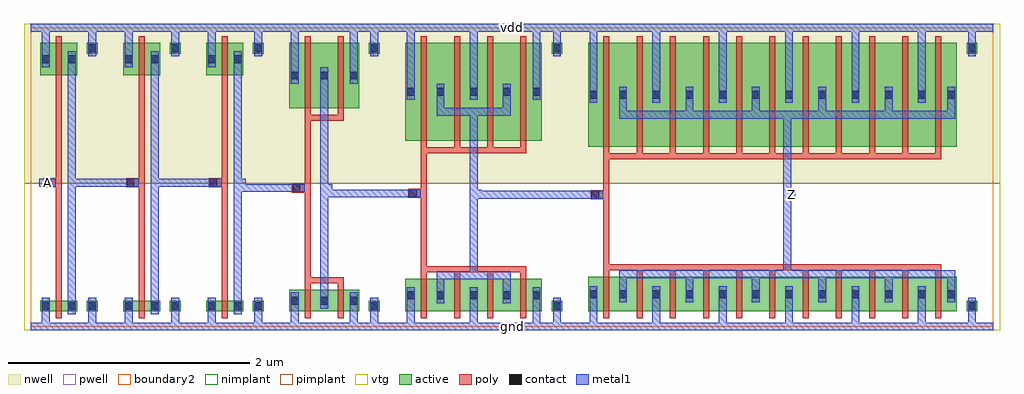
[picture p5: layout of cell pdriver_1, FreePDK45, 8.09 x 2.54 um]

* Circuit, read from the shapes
.subckt pdriver_1 A Z gnd vdd
M1 pinv_1_1/A A gnd gnd nfet w=0.09u l=0.05u
M2 pinv_1_2/A pinv_1_1/A gnd gnd nfet w=0.09u l=0.05u
M3 pinv_8_3/A pinv_1_2/A gnd gnd nfet w=0.09u l=0.05u
M4 pinv_5_4/A pinv_8_3/A gnd gnd nfet w=0.18u l=0.05u m=2
M5 pinv_9_5/A pinv_5_4/A gnd gnd nfet w=0.27u l=0.05u m=4
M6 Z pinv_9_5/A gnd gnd nfet w=0.2875u l=0.05u m=11
M7 pinv_1_1/A A vdd vdd pfet w=0.27u l=0.05u
M8 pinv_1_2/A pinv_1_1/A vdd vdd pfet w=0.27u l=0.05u
M9 pinv_8_3/A pinv_1_2/A vdd vdd pfet w=0.27u l=0.05u
M10 pinv_5_4/A pinv_8_3/A vdd vdd pfet w=0.54u l=0.05u m=2
M11 pinv_9_5/A pinv_5_4/A vdd vdd pfet w=0.81u l=0.05u m=4
M12 Z pinv_9_5/A vdd vdd pfet w=0.86u l=0.05u m=11
.ends

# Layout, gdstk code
import gdstk
lib = gdstk.Library(unit=1e-6, precision=5e-10)
def R(c, l, rs):  # rectangles x0, y0, x1, y1
    for r in rs: c.add(gdstk.rectangle(r[:2], r[2:], *l))
def A(c, l, x, y, w, h, nx, ny, dx, dy):  # array of equal rectangles
    R(c, l, [(x+i*dx, y+j*dy, x+i*dx+w, y+j*dy+h) for i in range(nx) for j in range(ny)])
active = (1, 0)
pwell = (2, 0)
nwell = (3, 0)
nimplant = (4, 0)
pimplant = (5, 0)
vtg = (6, 0)
poly = (9, 0)
contact = (10, 0)
metal1 = (11, 0)
boundary2 = (239, 0)

contact_10 = lib.new_cell('contact_10')
R(contact_10, active, [(0,0.0225,0.09,0.1125)])
R(contact_10, nwell, [(-0.055,-0.0325,0.145,0.1675)])
R(contact_10, pimplant, [(0,0.0225,0.09,0.1125)])
R(contact_10, contact, [(0.0125,0.035,0.0775,0.1)])
R(contact_10, metal1, [(0.0125,0,0.0775,0.135)])
R(contact_10, boundary2, [(-0.055,-0.0325,0.145,0.1675)])

pmos_m1_w0_270_sm1_dm1_d = lib.new_cell('pmos_m1_w0_270_sm1_dm1_da_p')
R(pmos_m1_w0_270_sm1_dm1_d, active, [(0,0,0.305,0.27)])
R(pmos_m1_w0_270_sm1_dm1_d, nwell, [(-0.08,-0.08,0.385,0.35)])
R(pmos_m1_w0_270_sm1_dm1_d, pimplant, [(0,0,0.305,0.27)])
R(pmos_m1_w0_270_sm1_dm1_d, vtg, [(-0.08,-0.08,0.385,0.35)])
R(pmos_m1_w0_270_sm1_dm1_d, poly, [(0.1275,-0.055,0.1775,0.325), (0.1275,-0.055,0.1775,0.325)])
R(pmos_m1_w0_270_sm1_dm1_d, metal1, [(0.0125,0.0675,0.0775,0.2025), (0.2275,0.0675,0.2925,0.2025)])
R(pmos_m1_w0_270_sm1_dm1_d, boundary2, [(-0.08,-0.08,0.385,0.35)])
pmos_m1_w0_270_sm1_dm1_d.add(gdstk.Reference(contact_10, (0,0.0675)))
pmos_m1_w0_270_sm1_dm1_d.add(gdstk.Reference(contact_10, (0.215,0.0675)))
pmos_m1_w0_270_sm1_dm1_d.add(gdstk.Label('S', (0.045,0.135), layer=11, texttype=0))
pmos_m1_w0_270_sm1_dm1_d.add(gdstk.Label('D', (0.26,0.135), layer=11, texttype=0))
pmos_m1_w0_270_sm1_dm1_d.add(gdstk.Label('G', (0.1525,0.135), layer=9, texttype=0))

contact_9 = lib.new_cell('contact_9')
R(contact_9, active, [(0,0.0225,0.09,0.1125)])
R(contact_9, pwell, [(-0.055,-0.0325,0.145,0.1675)])
R(contact_9, nimplant, [(0,0.0225,0.09,0.1125)])
R(contact_9, contact, [(0.0125,0.035,0.0775,0.1)])
R(contact_9, metal1, [(0.0125,0,0.0775,0.135)])
R(contact_9, boundary2, [(-0.055,-0.0325,0.145,0.1675)])

nmos_m1_w0_090_sm1_dm1_d = lib.new_cell('nmos_m1_w0_090_sm1_dm1_da_p')
R(nmos_m1_w0_090_sm1_dm1_d, active, [(0,0,0.305,0.09)])
R(nmos_m1_w0_090_sm1_dm1_d, pwell, [(-0.08,-0.08,0.385,0.17)])
R(nmos_m1_w0_090_sm1_dm1_d, nimplant, [(0,0,0.305,0.09)])
R(nmos_m1_w0_090_sm1_dm1_d, vtg, [(-0.08,-0.08,0.385,0.17)])
R(nmos_m1_w0_090_sm1_dm1_d, poly, [(0.1275,-0.055,0.1775,0.145), (0.1275,-0.055,0.1775,0.145)])
R(nmos_m1_w0_090_sm1_dm1_d, metal1, [(0.0125,-0.0225,0.0775,0.1125), (0.2275,-0.0225,0.2925,0.1125)])
R(nmos_m1_w0_090_sm1_dm1_d, boundary2, [(-0.08,-0.08,0.385,0.17)])
nmos_m1_w0_090_sm1_dm1_d.add(gdstk.Reference(contact_9, (0,-0.0225)))
nmos_m1_w0_090_sm1_dm1_d.add(gdstk.Reference(contact_9, (0.215,-0.0225)))
nmos_m1_w0_090_sm1_dm1_d.add(gdstk.Label('S', (0.045,0.045), layer=11, texttype=0))
nmos_m1_w0_090_sm1_dm1_d.add(gdstk.Label('D', (0.26,0.045), layer=11, texttype=0))
nmos_m1_w0_090_sm1_dm1_d.add(gdstk.Label('G', (0.1525,0.045), layer=9, texttype=0))

contact_11 = lib.new_cell('contact_11')
R(contact_11, active, [(0,0.0225,0.09,0.1125)])
R(contact_11, nwell, [(-0.055,-0.0325,0.145,0.1675)])
R(contact_11, nimplant, [(0,0.0225,0.09,0.1125)])
R(contact_11, contact, [(0.0125,0.035,0.0775,0.1)])
R(contact_11, metal1, [(0.0125,0,0.0775,0.135)])
R(contact_11, boundary2, [(-0.055,-0.0325,0.145,0.1675)])

contact_12 = lib.new_cell('contact_12')
R(contact_12, active, [(0,0.0225,0.09,0.1125)])
R(contact_12, pwell, [(-0.055,-0.0325,0.145,0.1675)])
R(contact_12, pimplant, [(0,0.0225,0.09,0.1125)])
R(contact_12, contact, [(0.0125,0.035,0.0775,0.1)])
R(contact_12, metal1, [(0.0125,0,0.0775,0.135)])
R(contact_12, boundary2, [(-0.055,-0.0325,0.145,0.1675)])

contact_13 = lib.new_cell('contact_13')
R(contact_13, poly, [(0.03,0,0.105,0.075)])
R(contact_13, contact, [(0.035,0.005,0.1,0.07)])
R(contact_13, metal1, [(0,0.005,0.135,0.07)])
R(contact_13, boundary2, [(0,0,0.135,0.075)])

pinv_1 = lib.new_cell('pinv_1')
R(pinv_1, pwell, [(-0.055,-0.0325,0.7425,1.1875)])
R(pinv_1, nwell, [(-0.055,1.1875,0.7425,2.51)])
R(pinv_1, vtg, [(-0.055,-0.0325,0.7425,1.1875), (-0.055,1.1875,0.7425,2.51)])
R(pinv_1, poly, [(0.2075,0.27,0.2575,2.025), (0.14,1.155,0.2075,1.23)])
R(pinv_1, metal1, [(0,-0.0325,0.6875,0.0325), (0.0925,-0.0325,0.1575,0.1025), (0.4775,0,0.5425,0.17), (0.3075,0.1025,0.3725,2.2825), (0.0725,1.16,0.2075,1.225), (0.34,1.16,0.405,1.225), (0.0925,2.1475,0.1575,2.5075), (0.4775,2.305,0.5425,2.475), (0,2.4425,0.6875,2.5075)])
R(pinv_1, boundary2, [(0,0,0.6875,2.475), (0,0,0.6875,2.475)])
pinv_1.add(gdstk.Reference(pmos_m1_w0_270_sm1_dm1_d, (0.08,2.08)))
pinv_1.add(gdstk.Reference(nmos_m1_w0_090_sm1_dm1_d, (0.08,0.125)))
pinv_1.add(gdstk.Reference(contact_11, (0.465,2.2375)))
pinv_1.add(gdstk.Reference(contact_12, (0.465,0.1025)))
pinv_1.add(gdstk.Reference(contact_13, (0.0725,1.155)))
pinv_1.add(gdstk.Label('A', (0.14,1.1925), layer=11, texttype=0))
pinv_1.add(gdstk.Label('Z', (0.3725,1.1925), layer=11, texttype=0))
pinv_1.add(gdstk.Label('gnd', (0.344,0), layer=11, texttype=0))
pinv_1.add(gdstk.Label('vdd', (0.344,2.475), layer=11, texttype=0))

pmos_m2_w0_540_sm1_dm1_d = lib.new_cell('pmos_m2_w0_540_sm1_dm1_da_p')
R(pmos_m2_w0_540_sm1_dm1_d, active, [(0,0,0.58,0.54)])
R(pmos_m2_w0_540_sm1_dm1_d, nwell, [(-0.08,-0.08,0.66,0.62)])
R(pmos_m2_w0_540_sm1_dm1_d, pimplant, [(0,0,0.58,0.54)])
R(pmos_m2_w0_540_sm1_dm1_d, vtg, [(-0.08,-0.08,0.66,0.62)])
R(pmos_m2_w0_540_sm1_dm1_d, poly, [(0.1275,-0.105,0.4525,-0.055), (0.1275,-0.055,0.1775,0.595), (0.4025,-0.055,0.4525,0.595)])
A(pmos_m2_w0_540_sm1_dm1_d, metal1, 0.0125, 0.2025, 0.065, 0.135, 3, 1, 0.245, 0)
R(pmos_m2_w0_540_sm1_dm1_d, boundary2, [(-0.08,-0.105,0.66,0.62)])
pmos_m2_w0_540_sm1_dm1_d.add(gdstk.Reference(contact_10, (0,0.2025)))
pmos_m2_w0_540_sm1_dm1_d.add(gdstk.Reference(contact_10, (0.245,0.2025)))
pmos_m2_w0_540_sm1_dm1_d.add(gdstk.Reference(contact_10, (0.49,0.2025)))
pmos_m2_w0_540_sm1_dm1_d.add(gdstk.Label('S', (0.535,0.27), layer=11, texttype=0))
pmos_m2_w0_540_sm1_dm1_d.add(gdstk.Label('S', (0.045,0.27), layer=11, texttype=0))
pmos_m2_w0_540_sm1_dm1_d.add(gdstk.Label('D', (0.29,0.27), layer=11, texttype=0))
pmos_m2_w0_540_sm1_dm1_d.add(gdstk.Label('G', (0.29,-0.08), layer=9, texttype=0))

nmos_m2_w0_180_sm1_dm1_d = lib.new_cell('nmos_m2_w0_180_sm1_dm1_da_p')
R(nmos_m2_w0_180_sm1_dm1_d, active, [(0,0,0.58,0.18)])
R(nmos_m2_w0_180_sm1_dm1_d, pwell, [(-0.08,-0.08,0.66,0.26)])
R(nmos_m2_w0_180_sm1_dm1_d, nimplant, [(0,0,0.58,0.18)])
R(nmos_m2_w0_180_sm1_dm1_d, vtg, [(-0.08,-0.08,0.66,0.26)])
R(nmos_m2_w0_180_sm1_dm1_d, poly, [(0.1275,-0.055,0.1775,0.235), (0.4025,-0.055,0.4525,0.235), (0.1275,0.235,0.4525,0.285)])
A(nmos_m2_w0_180_sm1_dm1_d, metal1, 0.0125, 0.0225, 0.065, 0.135, 3, 1, 0.245, 0)
R(nmos_m2_w0_180_sm1_dm1_d, boundary2, [(-0.08,-0.08,0.66,0.285)])
nmos_m2_w0_180_sm1_dm1_d.add(gdstk.Reference(contact_9, (0,0.0225)))
nmos_m2_w0_180_sm1_dm1_d.add(gdstk.Reference(contact_9, (0.245,0.0225)))
nmos_m2_w0_180_sm1_dm1_d.add(gdstk.Reference(contact_9, (0.49,0.0225)))
nmos_m2_w0_180_sm1_dm1_d.add(gdstk.Label('S', (0.535,0.09), layer=11, texttype=0))
nmos_m2_w0_180_sm1_dm1_d.add(gdstk.Label('S', (0.045,0.09), layer=11, texttype=0))
nmos_m2_w0_180_sm1_dm1_d.add(gdstk.Label('D', (0.29,0.09), layer=11, texttype=0))
nmos_m2_w0_180_sm1_dm1_d.add(gdstk.Label('G', (0.29,0.26), layer=9, texttype=0))

pinv_8 = lib.new_cell('pinv_8')
R(pinv_8, pwell, [(-0.055,-0.0325,1.0175,1.1875)])
R(pinv_8, nwell, [(-0.055,1.1875,1.0175,2.51)])
R(pinv_8, vtg, [(-0.055,-0.0325,1.0175,1.1875), (-0.055,1.1875,1.0175,2.51)])
R(pinv_8, poly, [(0.2075,0.41,0.2575,1.705), (0.14,1.11,0.2075,1.185)])
R(pinv_8, metal1, [(0,-0.0325,0.9625,0.0325), (0.0925,-0.0325,0.1575,0.1475), (0.5825,-0.0325,0.6475,0.1475), (0.7525,0,0.8175,0.17), (0.3375,0.1475,0.4025,2.1475), (0.0725,1.115,0.2075,1.18), (0.37,1.115,0.435,1.18), (0.0925,2.0125,0.1575,2.5075), (0.5825,2.0125,0.6475,2.5075), (0.7525,2.305,0.8175,2.475), (0,2.4425,0.9625,2.5075)])
R(pinv_8, boundary2, [(0,0,0.9625,2.475), (0,0,0.9625,2.475)])
pinv_8.add(gdstk.Reference(pmos_m2_w0_540_sm1_dm1_d, (0.08,1.81)))
pinv_8.add(gdstk.Reference(nmos_m2_w0_180_sm1_dm1_d, (0.08,0.125)))
pinv_8.add(gdstk.Reference(contact_11, (0.74,2.2375)))
pinv_8.add(gdstk.Reference(contact_12, (0.74,0.1025)))
pinv_8.add(gdstk.Reference(contact_13, (0.0725,1.11)))
pinv_8.add(gdstk.Label('A', (0.14,1.1475), layer=11, texttype=0))
pinv_8.add(gdstk.Label('Z', (0.4025,1.1475), layer=11, texttype=0))
pinv_8.add(gdstk.Label('gnd', (0.481,0), layer=11, texttype=0))
pinv_8.add(gdstk.Label('vdd', (0.481,2.475), layer=11, texttype=0))

pmos_m4_w0_810_sm1_dm1_d = lib.new_cell('pmos_m4_w0_810_sm1_dm1_da_p')
R(pmos_m4_w0_810_sm1_dm1_d, active, [(0,0,1.13,0.81)])
R(pmos_m4_w0_810_sm1_dm1_d, nwell, [(-0.08,-0.08,1.21,0.89)])
R(pmos_m4_w0_810_sm1_dm1_d, pimplant, [(0,0,1.13,0.81)])
R(pmos_m4_w0_810_sm1_dm1_d, vtg, [(-0.08,-0.08,1.21,0.89)])
A(pmos_m4_w0_810_sm1_dm1_d, poly, 0.1275, -0.055, 0.05, 0.92, 4, 1, 0.275, 0)
R(pmos_m4_w0_810_sm1_dm1_d, poly, [(0.1275,-0.105,1.0025,-0.055)])
A(pmos_m4_w0_810_sm1_dm1_d, metal1, 0.0125, 0.3375, 0.065, 0.135, 3, 1, 0.52, 0)
R(pmos_m4_w0_810_sm1_dm1_d, metal1, [(0.2575,0.2075,0.8725,0.2725), (0.2575,0.24,0.3225,0.405), (0.8075,0.24,0.8725,0.405)])
R(pmos_m4_w0_810_sm1_dm1_d, boundary2, [(-0.08,-0.105,1.21,0.89)])
pmos_m4_w0_810_sm1_dm1_d.add(gdstk.Reference(contact_10, (0,0.3375)))
pmos_m4_w0_810_sm1_dm1_d.add(gdstk.Reference(contact_10, (0.245,0.3375)))
pmos_m4_w0_810_sm1_dm1_d.add(gdstk.Reference(contact_10, (0.52,0.3375)))
pmos_m4_w0_810_sm1_dm1_d.add(gdstk.Reference(contact_10, (0.795,0.3375)))
pmos_m4_w0_810_sm1_dm1_d.add(gdstk.Reference(contact_10, (1.04,0.3375)))
pmos_m4_w0_810_sm1_dm1_d.add(gdstk.Label('S', (0.565,0.405), layer=11, texttype=0))
pmos_m4_w0_810_sm1_dm1_d.add(gdstk.Label('S', (1.085,0.405), layer=11, texttype=0))
pmos_m4_w0_810_sm1_dm1_d.add(gdstk.Label('S', (0.045,0.405), layer=11, texttype=0))
pmos_m4_w0_810_sm1_dm1_d.add(gdstk.Label('D', (0.565,0.24), layer=11, texttype=0))
pmos_m4_w0_810_sm1_dm1_d.add(gdstk.Label('G', (0.565,-0.08), layer=9, texttype=0))

nmos_m4_w0_270_sm1_dm1_d = lib.new_cell('nmos_m4_w0_270_sm1_dm1_da_p')
R(nmos_m4_w0_270_sm1_dm1_d, active, [(0,0,1.13,0.27)])
R(nmos_m4_w0_270_sm1_dm1_d, pwell, [(-0.08,-0.08,1.21,0.35)])
R(nmos_m4_w0_270_sm1_dm1_d, nimplant, [(0,0,1.13,0.27)])
R(nmos_m4_w0_270_sm1_dm1_d, vtg, [(-0.08,-0.08,1.21,0.35)])
A(nmos_m4_w0_270_sm1_dm1_d, poly, 0.1275, -0.055, 0.05, 0.38, 4, 1, 0.275, 0)
R(nmos_m4_w0_270_sm1_dm1_d, poly, [(0.1275,0.325,1.0025,0.375)])
A(nmos_m4_w0_270_sm1_dm1_d, metal1, 0.0125, 0.0675, 0.065, 0.135, 3, 1, 0.52, 0)
R(nmos_m4_w0_270_sm1_dm1_d, metal1, [(0.2575,0.135,0.3225,0.3), (0.8075,0.135,0.8725,0.3), (0.2575,0.2675,0.8725,0.3325)])
R(nmos_m4_w0_270_sm1_dm1_d, boundary2, [(-0.08,-0.08,1.21,0.375)])
nmos_m4_w0_270_sm1_dm1_d.add(gdstk.Reference(contact_9, (0,0.0675)))
nmos_m4_w0_270_sm1_dm1_d.add(gdstk.Reference(contact_9, (0.245,0.0675)))
nmos_m4_w0_270_sm1_dm1_d.add(gdstk.Reference(contact_9, (0.52,0.0675)))
nmos_m4_w0_270_sm1_dm1_d.add(gdstk.Reference(contact_9, (0.795,0.0675)))
nmos_m4_w0_270_sm1_dm1_d.add(gdstk.Reference(contact_9, (1.04,0.0675)))
nmos_m4_w0_270_sm1_dm1_d.add(gdstk.Label('S', (0.045,0.135), layer=11, texttype=0))
nmos_m4_w0_270_sm1_dm1_d.add(gdstk.Label('S', (1.085,0.135), layer=11, texttype=0))
nmos_m4_w0_270_sm1_dm1_d.add(gdstk.Label('S', (0.565,0.135), layer=11, texttype=0))
nmos_m4_w0_270_sm1_dm1_d.add(gdstk.Label('D', (0.565,0.3), layer=11, texttype=0))
nmos_m4_w0_270_sm1_dm1_d.add(gdstk.Label('G', (0.565,0.35), layer=9, texttype=0))

pinv_5 = lib.new_cell('pinv_5')
R(pinv_5, pwell, [(-0.055,-0.0325,1.5675,1.1875)])
R(pinv_5, nwell, [(-0.055,1.1875,1.5675,2.51)])
R(pinv_5, vtg, [(-0.055,-0.0325,1.5675,1.1875), (-0.055,1.1875,1.5675,2.51)])
R(pinv_5, poly, [(0.2075,0.5,0.2575,1.435), (0.14,1.065,0.2075,1.14)])
A(pinv_5, metal1, 0.0925, -0.0325, 0.065, 0.225, 3, 1, 0.52, 0)
A(pinv_5, metal1, 0.0925, 1.8775, 0.065, 0.63, 3, 1, 0.52, 0)
R(pinv_5, metal1, [(0,-0.0325,1.5125,0.0325), (1.3025,0,1.3675,0.17), (0.6125,0.3925,0.6775,1.8125), (0.0725,1.07,0.2075,1.135), (0.645,1.07,0.71,1.135), (1.3025,2.305,1.3675,2.475), (0,2.4425,1.5125,2.5075)])
R(pinv_5, boundary2, [(0,0,1.5125,2.475), (0,0,1.5125,2.475)])
pinv_5.add(gdstk.Reference(pmos_m4_w0_810_sm1_dm1_d, (0.08,1.54)))
pinv_5.add(gdstk.Reference(nmos_m4_w0_270_sm1_dm1_d, (0.08,0.125)))
pinv_5.add(gdstk.Reference(contact_11, (1.29,2.2375)))
pinv_5.add(gdstk.Reference(contact_12, (1.29,0.1025)))
pinv_5.add(gdstk.Reference(contact_13, (0.0725,1.065)))
pinv_5.add(gdstk.Label('A', (0.14,1.1025), layer=11, texttype=0))
pinv_5.add(gdstk.Label('Z', (0.6775,1.1025), layer=11, texttype=0))
pinv_5.add(gdstk.Label('gnd', (0.756,0), layer=11, texttype=0))
pinv_5.add(gdstk.Label('vdd', (0.756,2.475), layer=11, texttype=0))

pmos_m11_w0_860_sm1_dm1_ = lib.new_cell('pmos_m11_w0_860_sm1_dm1_da_p')
R(pmos_m11_w0_860_sm1_dm1_, active, [(0,0,3.055,0.86)])
R(pmos_m11_w0_860_sm1_dm1_, nwell, [(-0.08,-0.08,3.135,0.94)])
R(pmos_m11_w0_860_sm1_dm1_, pimplant, [(0,0,3.055,0.86)])
R(pmos_m11_w0_860_sm1_dm1_, vtg, [(-0.08,-0.08,3.135,0.94)])
A(pmos_m11_w0_860_sm1_dm1_, poly, 0.1275, -0.055, 0.05, 0.97, 11, 1, 0.275, 0)
R(pmos_m11_w0_860_sm1_dm1_, poly, [(0.1275,-0.105,2.9275,-0.055)])
A(pmos_m11_w0_860_sm1_dm1_, metal1, 0.2575, 0.265, 0.065, 0.165, 5, 1, 0.55, 0)
A(pmos_m11_w0_860_sm1_dm1_, metal1, 0.5325, 0.3625, 0.065, 0.135, 5, 1, 0.55, 0)
R(pmos_m11_w0_860_sm1_dm1_, metal1, [(0.2575,0.2325,3.0425,0.2975), (2.9775,0.265,3.0425,0.43), (0.0125,0.3625,0.0775,0.4975)])
R(pmos_m11_w0_860_sm1_dm1_, boundary2, [(-0.08,-0.105,3.135,0.94)])
pmos_m11_w0_860_sm1_dm1_.add(gdstk.Reference(contact_10, (0,0.3625)))
pmos_m11_w0_860_sm1_dm1_.add(gdstk.Reference(contact_10, (0.245,0.3625)))
pmos_m11_w0_860_sm1_dm1_.add(gdstk.Reference(contact_10, (0.52,0.3625)))
pmos_m11_w0_860_sm1_dm1_.add(gdstk.Reference(contact_10, (0.795,0.3625)))
pmos_m11_w0_860_sm1_dm1_.add(gdstk.Reference(contact_10, (1.07,0.3625)))
pmos_m11_w0_860_sm1_dm1_.add(gdstk.Reference(contact_10, (1.345,0.3625)))
pmos_m11_w0_860_sm1_dm1_.add(gdstk.Reference(contact_10, (1.62,0.3625)))
pmos_m11_w0_860_sm1_dm1_.add(gdstk.Reference(contact_10, (1.895,0.3625)))
pmos_m11_w0_860_sm1_dm1_.add(gdstk.Reference(contact_10, (2.17,0.3625)))
pmos_m11_w0_860_sm1_dm1_.add(gdstk.Reference(contact_10, (2.445,0.3625)))
pmos_m11_w0_860_sm1_dm1_.add(gdstk.Reference(contact_10, (2.72,0.3625)))
pmos_m11_w0_860_sm1_dm1_.add(gdstk.Reference(contact_10, (2.965,0.3625)))
pmos_m11_w0_860_sm1_dm1_.add(gdstk.Label('S', (2.765,0.43), layer=11, texttype=0))
pmos_m11_w0_860_sm1_dm1_.add(gdstk.Label('S', (2.215,0.43), layer=11, texttype=0))
pmos_m11_w0_860_sm1_dm1_.add(gdstk.Label('S', (1.115,0.43), layer=11, texttype=0))
pmos_m11_w0_860_sm1_dm1_.add(gdstk.Label('S', (1.665,0.43), layer=11, texttype=0))
pmos_m11_w0_860_sm1_dm1_.add(gdstk.Label('S', (0.565,0.43), layer=11, texttype=0))
pmos_m11_w0_860_sm1_dm1_.add(gdstk.Label('S', (0.045,0.43), layer=11, texttype=0))
pmos_m11_w0_860_sm1_dm1_.add(gdstk.Label('D', (1.65,0.265), layer=11, texttype=0))
pmos_m11_w0_860_sm1_dm1_.add(gdstk.Label('G', (1.5275,-0.08), layer=9, texttype=0))

nmos_m11_w0_288_sm1_dm1_ = lib.new_cell('nmos_m11_w0_288_sm1_dm1_da_p')
R(nmos_m11_w0_288_sm1_dm1_, active, [(0,0,3.055,0.2875)])
R(nmos_m11_w0_288_sm1_dm1_, pwell, [(-0.08,-0.08,3.135,0.3675)])
R(nmos_m11_w0_288_sm1_dm1_, nimplant, [(0,0,3.055,0.2875)])
R(nmos_m11_w0_288_sm1_dm1_, vtg, [(-0.08,-0.08,3.135,0.3675)])
A(nmos_m11_w0_288_sm1_dm1_, poly, 0.1275, -0.055, 0.05, 0.3975, 11, 1, 0.275, 0)
R(nmos_m11_w0_288_sm1_dm1_, poly, [(0.1275,0.3425,2.9275,0.3925)])
A(nmos_m11_w0_288_sm1_dm1_, metal1, 0.5325, 0.075, 0.065, 0.135, 5, 1, 0.55, 0)
A(nmos_m11_w0_288_sm1_dm1_, metal1, 0.2575, 0.145, 0.065, 0.165, 5, 1, 0.55, 0)
R(nmos_m11_w0_288_sm1_dm1_, metal1, [(0.0125,0.075,0.0775,0.21), (2.9775,0.145,3.0425,0.31), (0.2575,0.275,3.0425,0.34)])
R(nmos_m11_w0_288_sm1_dm1_, boundary2, [(-0.08,-0.08,3.135,0.3925)])
nmos_m11_w0_288_sm1_dm1_.add(gdstk.Reference(contact_9, (0,0.075)))
nmos_m11_w0_288_sm1_dm1_.add(gdstk.Reference(contact_9, (0.245,0.075)))
nmos_m11_w0_288_sm1_dm1_.add(gdstk.Reference(contact_9, (0.52,0.075)))
nmos_m11_w0_288_sm1_dm1_.add(gdstk.Reference(contact_9, (0.795,0.075)))
nmos_m11_w0_288_sm1_dm1_.add(gdstk.Reference(contact_9, (1.07,0.075)))
nmos_m11_w0_288_sm1_dm1_.add(gdstk.Reference(contact_9, (1.345,0.075)))
nmos_m11_w0_288_sm1_dm1_.add(gdstk.Reference(contact_9, (1.62,0.075)))
nmos_m11_w0_288_sm1_dm1_.add(gdstk.Reference(contact_9, (1.895,0.075)))
nmos_m11_w0_288_sm1_dm1_.add(gdstk.Reference(contact_9, (2.17,0.075)))
nmos_m11_w0_288_sm1_dm1_.add(gdstk.Reference(contact_9, (2.445,0.075)))
nmos_m11_w0_288_sm1_dm1_.add(gdstk.Reference(contact_9, (2.72,0.075)))
nmos_m11_w0_288_sm1_dm1_.add(gdstk.Reference(contact_9, (2.965,0.075)))
nmos_m11_w0_288_sm1_dm1_.add(gdstk.Label('S', (2.215,0.1425), layer=11, texttype=0))
nmos_m11_w0_288_sm1_dm1_.add(gdstk.Label('S', (0.565,0.1425), layer=11, texttype=0))
nmos_m11_w0_288_sm1_dm1_.add(gdstk.Label('S', (1.115,0.1425), layer=11, texttype=0))
nmos_m11_w0_288_sm1_dm1_.add(gdstk.Label('S', (1.665,0.1425), layer=11, texttype=0))
nmos_m11_w0_288_sm1_dm1_.add(gdstk.Label('S', (2.765,0.1425), layer=11, texttype=0))
nmos_m11_w0_288_sm1_dm1_.add(gdstk.Label('S', (0.045,0.1425), layer=11, texttype=0))
nmos_m11_w0_288_sm1_dm1_.add(gdstk.Label('D', (1.65,0.3075), layer=11, texttype=0))
nmos_m11_w0_288_sm1_dm1_.add(gdstk.Label('G', (1.5275,0.3675), layer=9, texttype=0))

pinv_9 = lib.new_cell('pinv_9')
R(pinv_9, pwell, [(-0.055,-0.0325,3.4925,1.1875)])
R(pinv_9, nwell, [(-0.055,1.1875,3.4925,2.51)])
R(pinv_9, vtg, [(-0.055,-0.0325,3.4925,1.1875), (-0.055,1.1875,3.4925,2.51)])
R(pinv_9, poly, [(0.2075,0.5175,0.2575,1.385), (0.14,1.055,0.2075,1.13)])
A(pinv_9, metal1, 0.6125, -0.0325, 0.065, 0.2325, 5, 1, 0.55, 0)
A(pinv_9, metal1, 0.6125, 1.8525, 0.065, 0.655, 5, 1, 0.55, 0)
R(pinv_9, metal1, [(0,-0.0325,3.4375,0.0325), (0.0925,-0.0325,0.1575,0.2), (3.2275,0,3.2925,0.17), (1.6975,0.4,1.7625,1.7875), (0.0725,1.06,0.2075,1.125), (1.73,1.06,1.795,1.125), (0.0925,1.8525,0.1575,2.5075), (3.2275,2.305,3.2925,2.475), (0,2.4425,3.4375,2.5075)])
R(pinv_9, boundary2, [(0,0,3.4375,2.475), (0,0,3.4375,2.475)])
pinv_9.add(gdstk.Reference(pmos_m11_w0_860_sm1_dm1_, (0.08,1.49)))
pinv_9.add(gdstk.Reference(nmos_m11_w0_288_sm1_dm1_, (0.08,0.125)))
pinv_9.add(gdstk.Reference(contact_11, (3.215,2.2375)))
pinv_9.add(gdstk.Reference(contact_12, (3.215,0.1025)))
pinv_9.add(gdstk.Reference(contact_13, (0.0725,1.055)))
pinv_9.add(gdstk.Label('A', (0.14,1.0925), layer=11, texttype=0))
pinv_9.add(gdstk.Label('Z', (1.7625,1.0925), layer=11, texttype=0))
pinv_9.add(gdstk.Label('gnd', (1.719,0), layer=11, texttype=0))
pinv_9.add(gdstk.Label('vdd', (1.719,2.475), layer=11, texttype=0))

pdriver_1 = lib.new_cell('pdriver_1')
R(pdriver_1, pwell, [(-0.055,-0.0325,8.03,1.1875)])
R(pdriver_1, nwell, [(-0.055,1.1875,8.03,2.51)])
R(pdriver_1, vtg, [(-0.055,-0.0325,8.03,1.1875), (-0.055,1.1875,8.03,2.51)])
R(pdriver_1, metal1, [(0,-0.0325,7.975,0.0325), (3.67,1.06,3.735,1.125), (3.7025,1.06,4.6775,1.125), (6.2675,1.06,6.3325,1.125), (2.4325,1.07,2.4975,1.135), (2.465,1.07,3.165,1.135), (3.67,1.0925,3.735,1.1025), (2.4325,1.1025,2.4975,1.1475), (1.715,1.115,1.78,1.18), (1.7475,1.115,2.2025,1.18), (1.715,1.1475,1.78,1.1925), (0.0725,1.16,0.2075,1.225), (0.3725,1.16,0.8275,1.225), (1.06,1.16,1.515,1.225), (0,2.4425,7.975,2.5075)])
R(pdriver_1, boundary2, [(0,0,7.975,2.475), (0,0,7.975,2.475)])
pdriver_1.add(gdstk.Reference(pinv_1, (0,0)))
pdriver_1.add(gdstk.Reference(pinv_1, (0.6875,0)))
pdriver_1.add(gdstk.Reference(pinv_1, (1.375,0)))
pdriver_1.add(gdstk.Reference(pinv_8, (2.0625,0)))
pdriver_1.add(gdstk.Reference(pinv_5, (3.025,0)))
pdriver_1.add(gdstk.Reference(pinv_9, (4.5375,0)))
pdriver_1.add(gdstk.Label('Z', (6.3,1.0925), layer=11, texttype=0))
pdriver_1.add(gdstk.Label('A', (0.14,1.1925), layer=11, texttype=0))
pdriver_1.add(gdstk.Label('gnd', (3.9875,0), layer=11, texttype=0))
pdriver_1.add(gdstk.Label('vdd', (3.9875,2.475), layer=11, texttype=0))

lib.write_gds('pdriver_1.gds')
